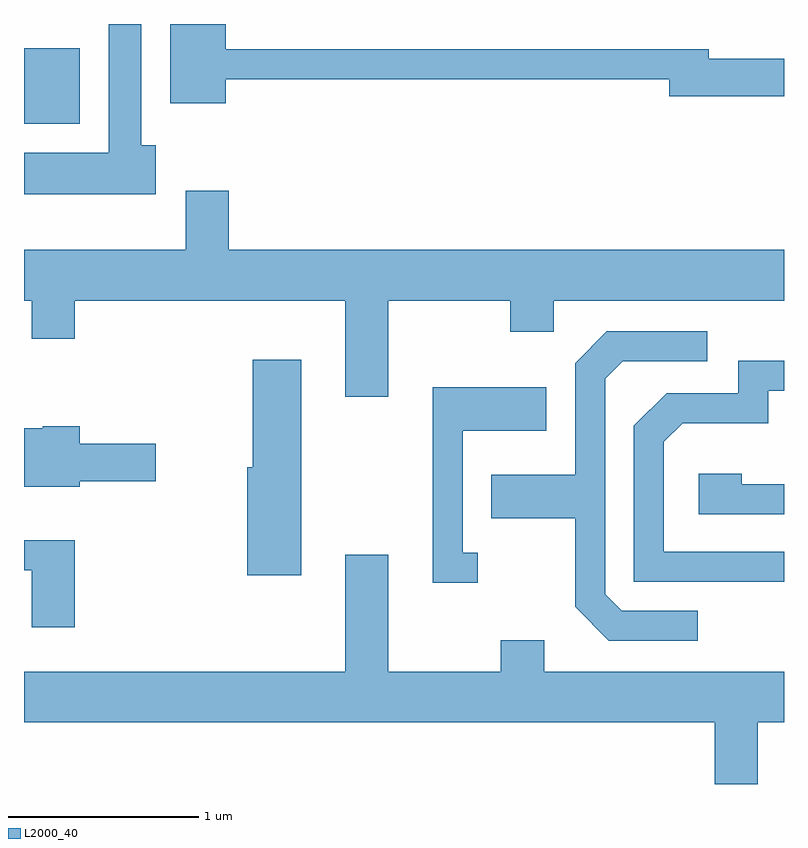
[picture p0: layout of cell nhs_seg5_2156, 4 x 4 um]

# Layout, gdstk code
import gdstk
lib = gdstk.Library(unit=1e-6, precision=1e-09)
def R(c, l, rs):  # rectangles x0, y0, x1, y1
    for r in rs: c.add(gdstk.rectangle(r[:2], r[2:], *l))
def P(c, l, *ps):  # polygons
    for p in ps: c.add(gdstk.Polygon(p, *l))
L2000_40 = (2000, 40)

nhs_seg5_2156 = lib.new_cell('nhs_seg5_2156')
R(nhs_seg5_2156, L2000_40, [(249.611,1415.546,249.904,1415.944)])
P(nhs_seg5_2156, L2000_40, [(250.674,1415.781),(253.006,1415.781),(253.006,1415.691),(253.611,1415.691),(253.611,1415.889),(253.214,1415.889),(253.214,1415.939),(250.674,1415.939),(250.674,1416.072),(250.381,1416.072),(250.381,1415.656),(250.674,1415.656)],
  [(250.304,1415.434),(250.229,1415.434),(250.229,1416.072),(249.993,1416.072),(249.993,1416.071),(250.056,1416.071),(250.056,1415.394),(249.611,1415.394),(249.611,1415.176),(250.304,1415.176)],
  [(251.529,1414.616),(252.171,1414.616),(252.171,1414.451),(252.399,1414.451),(252.399,1414.616),(253.611,1414.616),(253.611,1414.884),(250.689,1414.884),(250.689,1415.194),(250.461,1415.194),(250.461,1414.884),(249.611,1414.884),(249.611,1414.616),(249.651,1414.616),(249.651,1414.416),(249.879,1414.416),(249.879,1414.616),(251.301,1414.616),(251.301,1414.111),(251.529,1414.111)],
  [(253.158,1412.984),(252.757,1412.984),(252.669,1413.072),(252.669,1414.204),(252.762,1414.296),(253.208,1414.296),(253.208,1414.454),(252.679,1414.454),(252.511,1414.287),(252.511,1413.699),(252.071,1413.699),(252.071,1413.471),(252.511,1413.471),(252.511,1413.004),(252.689,1412.826),(253.158,1412.826)],
  [(251.069,1414.304),(250.816,1414.304),(250.816,1413.739),(250.786,1413.739),(250.786,1413.171),(251.069,1413.171)],
  [(253.611,1413.294),(252.979,1413.294),(252.979,1413.874),(253.077,1413.971),(253.529,1413.971),(253.529,1414.141),(253.611,1414.141),(253.611,1414.299),(253.371,1414.299),(253.371,1414.129),(252.994,1414.129),(252.821,1413.957),(252.821,1413.136),(253.611,1413.136)],
  [(251.998,1413.289),(251.919,1413.289),(251.919,1413.931),(252.359,1413.931),(252.359,1414.159),(251.761,1414.159),(251.761,1413.131),(251.998,1413.131)],
  [(249.904,1413.666),(250.304,1413.666),(250.304,1413.864),(249.904,1413.864),(249.904,1413.954),(249.71,1413.954),(249.71,1413.944),(249.611,1413.944),(249.611,1413.636),(249.904,1413.636)],
  [(253.611,1413.649),(253.389,1413.649),(253.389,1413.704),(253.161,1413.704),(253.161,1413.491),(253.611,1413.491)],
  [(249.879,1413.354),(249.611,1413.354),(249.611,1413.196),(249.651,1413.196),(249.651,1412.896),(249.879,1412.896)],
  [(253.474,1412.396),(253.611,1412.396),(253.611,1412.664),(252.349,1412.664),(252.349,1412.829),(252.121,1412.829),(252.121,1412.664),(251.529,1412.664),(251.529,1413.279),(251.301,1413.279),(251.301,1412.664),(249.611,1412.664),(249.611,1412.396),(253.246,1412.396),(253.246,1412.072),(253.474,1412.072)])

lib.write_gds('nhs_seg5_2156.gds')
